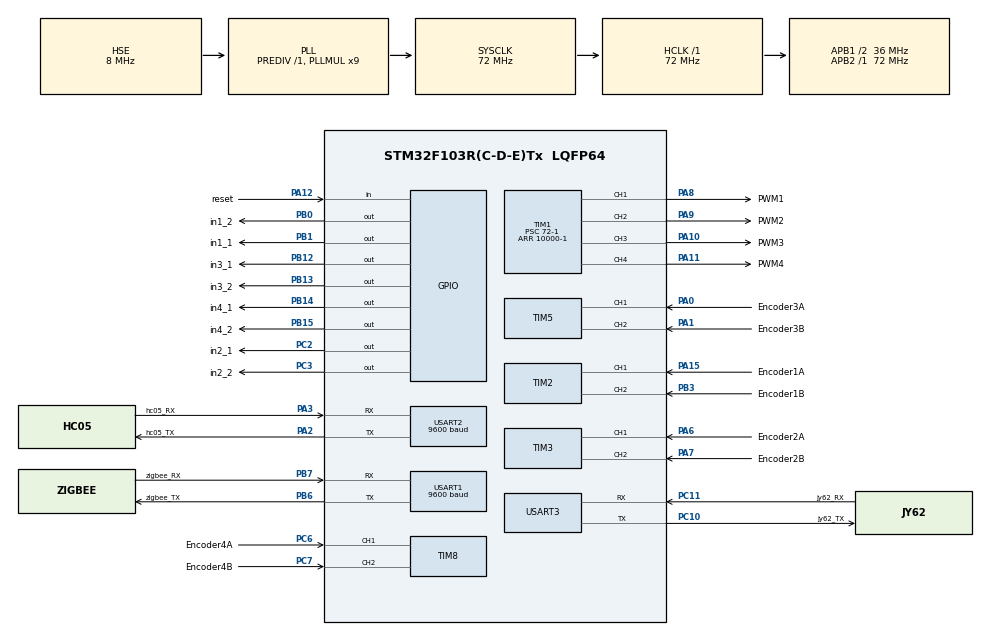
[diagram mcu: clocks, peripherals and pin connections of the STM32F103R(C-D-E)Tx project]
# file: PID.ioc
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Dma.Request0=USART1_RX
Dma.Request1=USART2_RX
Dma.Request2=USART3_RX
Dma.USART1_RX.0.Direction=DMA_PERIPH_TO_MEMORY
Dma.USART1_RX.0.Instance=DMA1_Channel5
Dma.USART1_RX.0.MemDataAlignment=DMA_MDATAALIGN_BYTE
Dma.USART1_RX.0.MemInc=DMA_MINC_ENABLE
Dma.USART1_RX.0.Mode=DMA_CIRCULAR
Dma.USART1_RX.0.PeriphDataAlignment=DMA_PDATAALIGN_BYTE
Dma.USART1_RX.0.PeriphInc=DMA_PINC_DISABLE
Dma.USART1_RX.0.Priority=DMA_PRIORITY_LOW
Dma.USART2_RX.1.Direction=DMA_PERIPH_TO_MEMORY
Dma.USART2_RX.1.Instance=DMA1_Channel6
Dma.USART2_RX.1.MemDataAlignment=DMA_MDATAALIGN_BYTE
Dma.USART2_RX.1.MemInc=DMA_MINC_ENABLE
Dma.USART2_RX.1.Mode=DMA_NORMAL
Dma.USART2_RX.1.PeriphDataAlignment=DMA_PDATAALIGN_BYTE
Dma.USART2_RX.1.PeriphInc=DMA_PINC_DISABLE
Dma.USART2_RX.1.Priority=DMA_PRIORITY_LOW
Dma.USART3_RX.2.Direction=DMA_PERIPH_TO_MEMORY
Dma.USART3_RX.2.Instance=DMA1_Channel3
Dma.USART3_RX.2.MemDataAlignment=DMA_MDATAALIGN_BYTE
Dma.USART3_RX.2.MemInc=DMA_MINC_ENABLE
Dma.USART3_RX.2.Mode=DMA_NORMAL
Dma.USART3_RX.2.PeriphDataAlignment=DMA_PDATAALIGN_BYTE
Dma.USART3_RX.2.PeriphInc=DMA_PINC_DISABLE
Dma.USART3_RX.2.Priority=DMA_PRIORITY_LOW
Mcu.Family=STM32F1
Mcu.Name=STM32F103R(C-D-E)Tx
Mcu.Package=LQFP64
NVIC.DMA1_Channel3_IRQn=true\:0\:0\:false\:false\:true\:false\:true\:true
NVIC.DMA1_Channel5_IRQn=true\:1\:0\:true\:false\:true\:false\:true\:true
NVIC.DMA1_Channel6_IRQn=true\:0\:0\:false\:false\:true\:false\:true\:true
NVIC.PriorityGroup=NVIC_PRIORITYGROUP_4
NVIC.TIM1_BRK_IRQn=true\:0\:0\:false\:false\:true\:true\:true\:true
NVIC.TIM1_CC_IRQn=true\:0\:0\:false\:false\:true\:true\:true\:true
NVIC.TIM1_TRG_COM_IRQn=true\:0\:0\:false\:false\:true\:true\:true\:true
NVIC.TIM1_UP_IRQn=true\:0\:0\:true\:false\:true\:true\:true\:true
NVIC.USART1_IRQn=true\:1\:0\:true\:false\:true\:true\:true\:true
NVIC.USART2_IRQn=true\:1\:0\:true\:false\:true\:true\:true\:true
NVIC.USART3_IRQn=true\:0\:0\:false\:false\:true\:true\:true\:true
PA0-WKUP.GPIO_Label=Encoder3A
PA0-WKUP.GPIO_PuPd=GPIO_PULLUP
PA0-WKUP.Signal=S_TIM5_CH1
PA1.GPIO_Label=Encoder3B
PA1.GPIO_PuPd=GPIO_PULLUP
PA1.Signal=S_TIM5_CH2
PA10.GPIO_Label=PWM3
PA10.GPIO_Speed=GPIO_SPEED_FREQ_HIGH
PA10.Signal=S_TIM1_CH3
PA11.GPIO_Label=PWM4
PA11.GPIO_Speed=GPIO_SPEED_FREQ_HIGH
PA11.Signal=S_TIM1_CH4
PA12.GPIO_Label=reset
PA12.GPIO_PuPd=GPIO_PULLUP
PA12.Signal=GPIO_Input
PA13.Mode=Serial_Wire
PA13.Signal=SYS_JTMS-SWDIO
PA14.Mode=Serial_Wire
PA14.Signal=SYS_JTCK-SWCLK
PA15.GPIO_Label=Encoder1A
PA15.GPIO_PuPd=GPIO_PULLUP
PA15.Signal=S_TIM2_CH1_ETR
PA2.GPIO_Label=hc05_TX
PA2.Mode=Asynchronous
PA2.Signal=USART2_TX
PA3.GPIO_Label=hc05_RX
PA3.Mode=Asynchronous
PA3.Signal=USART2_RX
PA6.GPIO_Label=Encoder2A
PA6.GPIO_PuPd=GPIO_PULLUP
PA6.Signal=S_TIM3_CH1
PA7.GPIO_Label=Encoder2B
PA7.GPIO_PuPd=GPIO_PULLUP
PA7.Signal=S_TIM3_CH2
PA8.GPIO_Label=PWM1
PA8.GPIO_Speed=GPIO_SPEED_FREQ_HIGH
PA8.Signal=S_TIM1_CH1
PA9.GPIO_Label=PWM2
PA9.GPIO_Speed=GPIO_SPEED_FREQ_HIGH
PA9.Signal=S_TIM1_CH2
PB0.GPIO_Label=in1_2
PB0.GPIO_PuPd=GPIO_PULLDOWN
PB0.Signal=GPIO_Output
PB1.GPIO_Label=in1_1
PB1.GPIO_PuPd=GPIO_PULLDOWN
PB1.GPIO_Speed=GPIO_SPEED_FREQ_LOW
PB1.Signal=GPIO_Output
PB12.GPIO_Label=in3_1
PB12.GPIO_PuPd=GPIO_PULLDOWN
PB12.Signal=GPIO_Output
PB13.GPIO_Label=in3_2
PB13.GPIO_PuPd=GPIO_PULLDOWN
PB13.Signal=GPIO_Output
PB14.GPIO_Label=in4_1
PB14.GPIO_PuPd=GPIO_PULLDOWN
PB14.Signal=GPIO_Output
PB15.GPIO_Label=in4_2
PB15.GPIO_PuPd=GPIO_PULLDOWN
PB15.Signal=GPIO_Output
PB3.GPIO_Label=Encoder1B
PB3.GPIO_PuPd=GPIO_PULLUP
PB3.Signal=S_TIM2_CH2
PB6.GPIO_Label=zigbee_TX
PB6.Mode=Asynchronous
PB6.Signal=USART1_TX
PB7.GPIO_Label=zigbee_RX
PB7.Mode=Asynchronous
PB7.Signal=USART1_RX
PC10.GPIO_Label=jy62_TX
PC10.Mode=Asynchronous
PC10.Signal=USART3_TX
PC11.GPIO_Label=jy62_RX
PC11.Mode=Asynchronous
PC11.Signal=USART3_RX
PC2.GPIO_Label=in2_1
PC2.GPIO_PuPd=GPIO_PULLDOWN
PC2.Signal=GPIO_Output
PC3.GPIO_Label=in2_2
PC3.GPIO_PuPd=GPIO_PULLDOWN
PC3.Signal=GPIO_Output
PC6.GPIO_Label=Encoder4A
PC6.GPIO_PuPd=GPIO_PULLUP
PC6.Signal=S_TIM8_CH1
PC7.GPIO_Label=Encoder4B
PC7.GPIO_PuPd=GPIO_PULLUP
PC7.Signal=S_TIM8_CH2
PD0-OSC_IN.Mode=HSE-External-Oscillator
PD0-OSC_IN.Signal=RCC_OSC_IN
PD1-OSC_OUT.Mode=HSE-External-Oscillator
PD1-OSC_OUT.Signal=RCC_OSC_OUT
ProjectManager.HeapSize=0x200
ProjectManager.StackSize=0x400
ProjectManager.TargetToolchain=STM32CubeIDE
RCC.AHBFreq_Value=72000000
RCC.APB1CLKDivider=RCC_HCLK_DIV2
RCC.APB1Freq_Value=36000000
RCC.APB1TimFreq_Value=72000000
RCC.APB2Freq_Value=72000000
RCC.APB2TimFreq_Value=72000000
RCC.HCLKFreq_Value=72000000
RCC.PLLMUL=RCC_PLL_MUL9
RCC.PLLSourceVirtual=RCC_PLLSOURCE_HSE
RCC.SYSCLKFreq_VALUE=72000000
RCC.SYSCLKSource=RCC_SYSCLKSOURCE_PLLCLK
RCC.USBFreq_Value=72000000
SH.S_TIM1_CH1.0=TIM1_CH1,PWM Generation1 CH1
SH.S_TIM1_CH2.0=TIM1_CH2,PWM Generation2 CH2
SH.S_TIM1_CH3.0=TIM1_CH3,PWM Generation3 CH3
SH.S_TIM1_CH4.0=TIM1_CH4,PWM Generation4 CH4
SH.S_TIM2_CH1_ETR.0=TIM2_CH1,Encoder_Interface
SH.S_TIM2_CH2.0=TIM2_CH2,Encoder_Interface
SH.S_TIM3_CH1.0=TIM3_CH1,Encoder_Interface
SH.S_TIM3_CH2.0=TIM3_CH2,Encoder_Interface
SH.S_TIM5_CH1.0=TIM5_CH1,Encoder_Interface
SH.S_TIM5_CH2.0=TIM5_CH2,Encoder_Interface
SH.S_TIM8_CH1.0=TIM8_CH1,Encoder_Interface
SH.S_TIM8_CH2.0=TIM8_CH2,Encoder_Interface
TIM1.Channel-PWM\ Generation1\ CH1=TIM_CHANNEL_1
TIM1.Channel-PWM\ Generation2\ CH2=TIM_CHANNEL_2
TIM1.Channel-PWM\ Generation3\ CH3=TIM_CHANNEL_3
TIM1.Channel-PWM\ Generation4\ CH4=TIM_CHANNEL_4
TIM1.Period=10000-1
TIM1.Prescaler=72-1
TIM1.Pulse-PWM\ Generation1\ CH1=0
TIM2.EncoderMode=TIM_ENCODERMODE_TI12
TIM3.EncoderMode=TIM_ENCODERMODE_TI12
TIM5.EncoderMode=TIM_ENCODERMODE_TI12
TIM8.EncoderMode=TIM_ENCODERMODE_TI12
USART1.BaudRate=9600
USART1.VirtualMode=VM_ASYNC
USART2.BaudRate=9600
USART2.VirtualMode=VM_ASYNC
USART3.VirtualMode=VM_ASYNC
VP_TIM1_VS_ClockSourceINT.Mode=Internal
board=custom

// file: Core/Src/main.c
/* USER CODE BEGIN Header */
/**
  ******************************************************************************
  * @file           : main.c
  * @brief          : Main program body
  ******************************************************************************
  * @attention
  *
  * Copyright (c) 2023 STMicroelectronics.
  * All rights reserved.
  *
  * This software is licensed under terms that can be found in the LICENSE file
  * in the root directory of this software component.
  * If no LICENSE file comes with this software, it is provided AS-IS.
  *
  ******************************************************************************
  */
/* USER CODE END Header */
#include "main.h"
#include "dma.h"
#include "tim.h"
#include "usart.h"
#include "gpio.h"

/* USER CODE BEGIN Includes */
#include <stdio.h>
#include <string.h>
#include "motor.h"
#include "zigbee_edc24.h"
#include "algorithm.h"
#include "jy62.h"
#include "pid.h"
/* USER CODE END Includes */

void SystemClock_Config(void);

/* USER CODE BEGIN 0 */
void HAL_TIM_PeriodElapsedCallback(TIM_HandleTypeDef *htim)
{
	if(htim->Instance==TIM1)
	{
		int32_t cnt_x  = __HAL_TIM_GET_COUNTER(&htim3);
		cnt_x = (int16_t)cnt_x;
		__HAL_TIM_SET_COUNTER(&htim3, 0);
		motor_speed_x = (float)cnt_x * 1000 / circle * 2 * PI * radius;

		int32_t cnt_y  = __HAL_TIM_GET_COUNTER(&htim2);
		cnt_y = (int16_t)cnt_y;
		__HAL_TIM_SET_COUNTER(&htim2, 0);
		motor_speed_y = (float)cnt_y * 1000 / circle * 2 * PI * radius;

		if(receive_flag)
		{
			reqGameInfo();
			zigbeeMessageRecord();

		}

	}
}
void HAL_UART_RxCpltCallback(UART_HandleTypeDef* huart)
{
	if(huart==&huart3)
	{

	  jy62MessageRecord();
//	  u1_printf("ROW: %f, PITCH:%f, YAW:%f	\n", GetRoll(), GetPitch(), GetYaw());

	}
}
/* USER CODE END 0 */

int main(void)
{

  /* MCU Configuration--------------------------------------------------------*/

  /* Reset of all peripherals, Initializes the Flash interface and the Systick. */
  HAL_Init();

  /* Configure the system clock */
  SystemClock_Config();

  /* Initialize all configured peripherals */
  MX_GPIO_Init();
  MX_DMA_Init();
  MX_TIM2_Init();
  MX_TIM1_Init();
  MX_USART1_UART_Init();
  MX_USART2_UART_Init();
  MX_TIM3_Init();
  MX_TIM5_Init();
  MX_TIM8_Init();
  MX_USART3_UART_Init();
  /* USER CODE BEGIN 2 */
  HAL_TIM_Base_Start_IT(&htim1);
  HAL_TIM_PWM_Start(&htim1, TIM_CHANNEL_1);
  HAL_TIM_PWM_Start(&htim1, TIM_CHANNEL_2);
  HAL_TIM_PWM_Start(&htim1, TIM_CHANNEL_3);
  HAL_TIM_PWM_Start(&htim1, TIM_CHANNEL_4);

  HAL_TIM_Encoder_Start(&htim2, TIM_CHANNEL_ALL);
  HAL_TIM_Encoder_Start(&htim3, TIM_CHANNEL_ALL);
  HAL_GPIO_WritePin(reset_GPIO_Port, reset_Pin, GPIO_PIN_SET);
  zigbee_Init(&huart2);
  jy62_Init(&huart3);
  u1_printf("hello\n");
  PID_Init_S(&pid_x, p_ex_set, p_set, i_set, d_set, straight_x);
  PID_Init_S(&pid_y, p_ex_set, p_set, i_set, d_set, straight_y);
  PID_Init_S(&pid_rotate, rp_ex_set, rp_set, ri_set, rd_set, rotate);
  MOTOR_Standby();
  SetBaud(115200);
  SetHorizontal();
  InitAngle();
  Calibrate();
  SleepOrAwake();
  /* USER CODE END 2 */

  /* Infinite loop */
  /* USER CODE BEGIN WHILE */
  while (1)
  {
	u1_printf("YAW:%f	", GetYaw());
	if(getGameStage()==Prematch){
		orderInit();
		MOTOR_Standby();
	}

	if (HAL_GPIO_ReadPin(reset_GPIO_Port, reset_Pin) == GPIO_PIN_RESET){
		orderInit();
		InitAngle();
		MOTOR_Standby();
	}
	else{
		if(getGameStatus() == GameStandby)
		{
			MOTOR_Standby();
		}
		else if (GetYaw() > 5 && GetYaw() < 180){
			MOTOR_Rotate(negative);
		}
		else if (GetYaw() < 355 && GetYaw() > 180){
			MOTOR_Rotate(positive);
		}
		else
		{
			if(getGameStage()==FirstHalf&&!pile[1])
				set_pile();
			if(pile[1])
				setChargingPile();
			store_order();
//			u1_printf("\t%d", (int)getOwnChargingPileNum());
//			printf("ROW: %f, PITCH:%f, YAW:%f	", GetRoll(), GetPitch(), GetYaw());
			if(next_point.x == 0 && next_point.y == 0)
				next_point=get_nearest_point();
			u1_printf("\tnext_point:(%d,%d)",next_point.x,next_point.y);
			if(next_point.x!=0||next_point.y!=0)
				get_path(next_point);
//			for(int trans = 1; trans <= cnt; trans++)
//			{
//				u1_printf("(%d,%d)--", path[trans].x, path[trans].y);
//			}
			if (getGameStage() == SecondHalf){
				Position_edc24 tmp=check_power();
				if(tmp.x!= 0||tmp.y!= 0)
				{
					next_point=tmp;
					get_path(next_point);
					charge=true;
				}
			}

			now=getVehiclePos();
			int trans;
			for(trans=1;trans<=cnt;++trans)
				if((now.x-path[trans].x)*(now.x-path[trans].x)+(now.y-path[trans].y)*(now.y-path[trans].y)>64)
					break;
			MOTOR_Move(path[trans]);
			u1_printf("path:(%d, %d)  ", path[trans].x, path[trans].y);
//			u1_printf("No.%d:(%d,%d)\n", cnt_run + 1,  next_point.x, next_point.y);
//			u1_printf("cnt_run:%d cnt:%d", cnt_run, cnt);
			u1_printf("\tnow:(%d,%d)\n", getVehiclePos().x, getVehiclePos().y);
			now=getVehiclePos();
			if((now.x-next_point.x)*(now.x-next_point.x)+(now.y-next_point.y)*(now.y-next_point.y)<=64)
			{
				next_point=pos_pair(0,0);
				if(!charge)
				{
					if(order_status[order_id]==waiting)
						order_status[order_id]=loading;
					else if(order_status[order_id]==loading)
						order_status[order_id]=finishing;
				}
				else
					charge=false;
			}
		}
	}
    /* USER CODE END WHILE */

}
}

void SystemClock_Config(void)
{
  RCC_OscInitTypeDef RCC_OscInitStruct = {0};
  RCC_ClkInitTypeDef RCC_ClkInitStruct = {0};

  /** Initializes the RCC Oscillators according to the specified parameters
  * in the RCC_OscInitTypeDef structure.
  */
  RCC_OscInitStruct.OscillatorType = RCC_OSCILLATORTYPE_HSE;
  RCC_OscInitStruct.HSEState = RCC_HSE_ON;
  RCC_OscInitStruct.HSEPredivValue = RCC_HSE_PREDIV_DIV1;
  RCC_OscInitStruct.HSIState = RCC_HSI_ON;
  RCC_OscInitStruct.PLL.PLLState = RCC_PLL_ON;
  RCC_OscInitStruct.PLL.PLLSource = RCC_PLLSOURCE_HSE;
  RCC_OscInitStruct.PLL.PLLMUL = RCC_PLL_MUL9;
  if (HAL_RCC_OscConfig(&RCC_OscInitStruct) != HAL_OK)
  {
    Error_Handler();
  }

  /** Initializes the CPU, AHB and APB buses clocks
  */
  RCC_ClkInitStruct.ClockType = RCC_CLOCKTYPE_HCLK|RCC_CLOCKTYPE_SYSCLK
                              |RCC_CLOCKTYPE_PCLK1|RCC_CLOCKTYPE_PCLK2;
  RCC_ClkInitStruct.SYSCLKSource = RCC_SYSCLKSOURCE_PLLCLK;
  RCC_ClkInitStruct.AHBCLKDivider = RCC_SYSCLK_DIV1;
  RCC_ClkInitStruct.APB1CLKDivider = RCC_HCLK_DIV2;
  RCC_ClkInitStruct.APB2CLKDivider = RCC_HCLK_DIV1;

  if (HAL_RCC_ClockConfig(&RCC_ClkInitStruct, FLASH_LATENCY_2) != HAL_OK)
  {
    Error_Handler();
  }
}

void Error_Handler(void)
{
  __disable_irq();
  while (1)
  {
  }
}
